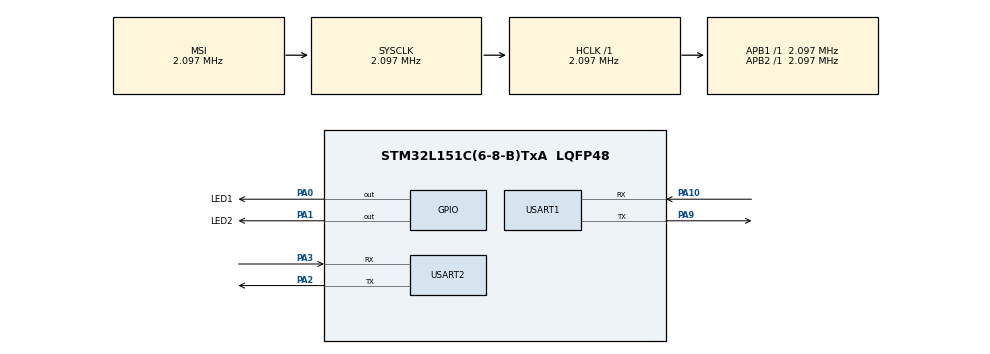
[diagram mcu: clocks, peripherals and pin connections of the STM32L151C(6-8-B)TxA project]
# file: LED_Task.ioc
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FREERTOS.Tasks01=defaultTask,24,128,StartDefaultTask,Default,NULL,Dynamic,NULL,NULL
FREERTOS.configUSE_NEWLIB_REENTRANT=1
Mcu.Family=STM32L1
Mcu.Name=STM32L151C(6-8-B)TxA
Mcu.Package=LQFP48
NVIC.PriorityGroup=NVIC_PRIORITYGROUP_4
NVIC.TIM4_IRQn=true\:15\:0\:false\:false\:true\:false\:false\:true\:true
NVIC.TimeBase=TIM4_IRQn
NVIC.TimeBaseIP=TIM4
PA0-WKUP1.GPIO_Label=LED1
PA0-WKUP1.Signal=GPIO_Output
PA1.GPIO_Label=LED2
PA1.Signal=GPIO_Output
PA10.Mode=Asynchronous
PA10.Signal=USART1_RX
PA2.Mode=Asynchronous
PA2.Signal=USART2_TX
PA3.Mode=Asynchronous
PA3.Signal=USART2_RX
PA9.Mode=Asynchronous
PA9.Signal=USART1_TX
PH0-OSC_IN.Mode=HSE-External-Oscillator
PH0-OSC_IN.Signal=RCC_OSC_IN
PH1-OSC_OUT.Mode=HSE-External-Oscillator
PH1-OSC_OUT.Signal=RCC_OSC_OUT
ProjectManager.HeapSize=0x200
ProjectManager.StackSize=0x400
ProjectManager.TargetToolchain=STM32CubeIDE
RCC.AHBFreq_Value=2097000
RCC.APB1Freq_Value=2097000
RCC.APB2Freq_Value=2097000
RCC.HSE_VALUE=24000000
RCC.HSI_VALUE=16000000
RCC.LSE_VALUE=32768
RCC.MSI_VALUE=2097000
RCC.SYSCLKFreq_VALUE=2097000
RCC.VCOOutputFreq_Value=48000000
USART1.VirtualMode=VM_ASYNC
USART2.VirtualMode=VM_ASYNC
VP_FREERTOS_VS_CMSIS_V2.Mode=CMSIS_V2
VP_SYS_VS_tim4.Mode=TIM4
board=custom

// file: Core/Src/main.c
/* USER CODE BEGIN Header */
/**
  ******************************************************************************
  * @file           : main.c
  * @brief          : Main program body
  ******************************************************************************
  * @attention
  *
  * Copyright (c) 2024 STMicroelectronics.
  * All rights reserved.
  *
  * This software is licensed under terms that can be found in the LICENSE file
  * in the root directory of this software component.
  * If no LICENSE file comes with this software, it is provided AS-IS.
  *
  ******************************************************************************
  */
/* USER CODE END Header */
#include "main.h"
#include "cmsis_os.h"

/* USER CODE BEGIN Includes */
#include "FreeRTOS.h"
#include "task.h"
/* USER CODE END Includes */

UART_HandleTypeDef huart1;
UART_HandleTypeDef huart2;

/* Definitions for defaultTask */
osThreadId_t defaultTaskHandle;
const osThreadAttr_t defaultTask_attributes = {
  .name = "defaultTask",
  .stack_size = 128 * 4,
  .priority = (osPriority_t) osPriorityNormal,
};

void SystemClock_Config(void);
static void MX_GPIO_Init(void);
static void MX_USART1_UART_Init(void);
static void MX_USART2_UART_Init(void);
void StartDefaultTask(void *argument);

/* USER CODE BEGIN PFP */
static void green_handler (void* parameters);
static void red_handler (void* parameters);
/* USER CODE END PFP */

/* USER CODE BEGIN 0 */
#ifdef __GNUC__
/* With GCC/RAISONANCE, small printf (option LD Linker->Libraries->Small printf
   set to 'Yes') calls __io_putchar() */
#define PUTCHAR_PROTOTYPE int __io_putchar(int ch)
#else
#define PUTCHAR_PROTOTYPE int fputc(int ch, FILE *f)
#endif /* __GNUC__ */

UART_HandleTypeDef UartHandle_1 = {0};
PUTCHAR_PROTOTYPE
{
	HAL_UART_Transmit(&huart1, (uint8_t *)&ch, 1, 0xFFFF);
}
/* USER CODE END 0 */

int main(void)
{
  /* USER CODE BEGIN 1 */
	TaskHandle_t task1_handle;
	TaskHandle_t task2_handle;
	BaseType_t status;
  /* USER CODE END 1 */

  /* MCU Configuration--------------------------------------------------------*/

  /* Reset of all peripherals, Initializes the Flash interface and the Systick. */
  HAL_Init();

  /* Configure the system clock */
  SystemClock_Config();

  /* Initialize all configured peripherals */
  MX_GPIO_Init();
  MX_USART1_UART_Init();
  MX_USART2_UART_Init();

  /* Init scheduler */
  osKernelInitialize();

  /* Create the thread(s) */
  /* creation of defaultTask */
  defaultTaskHandle = osThreadNew(StartDefaultTask, NULL, &defaultTask_attributes);

  /* USER CODE BEGIN RTOS_THREADS */
  /* add threads, ... */

	status = xTaskCreate(green_handler, "Green", 200, NULL, 3	, &task1_handle);
	configASSERT(status == pdPASS);

	status = xTaskCreate(red_handler, "Red", 200, NULL, 2	, &task2_handle);
	configASSERT(status == pdPASS);

  /* USER CODE END RTOS_THREADS */

  /* Start scheduler */
  vTaskStartScheduler();
  /* We should never get here as control is now taken by the scheduler */
  /* Infinite loop */
  while (1)
  {

  }
}

void SystemClock_Config(void)
{
  RCC_OscInitTypeDef RCC_OscInitStruct = {0};
  RCC_ClkInitTypeDef RCC_ClkInitStruct = {0};

  /** Configure the main internal regulator output voltage
  */
  __HAL_PWR_VOLTAGESCALING_CONFIG(PWR_REGULATOR_VOLTAGE_SCALE1);

  /** Initializes the RCC Oscillators according to the specified parameters
  * in the RCC_OscInitTypeDef structure.
  */
  RCC_OscInitStruct.OscillatorType = RCC_OSCILLATORTYPE_MSI;
  RCC_OscInitStruct.MSIState = RCC_MSI_ON;
  RCC_OscInitStruct.MSICalibrationValue = 0;
  RCC_OscInitStruct.MSIClockRange = RCC_MSIRANGE_5;
  RCC_OscInitStruct.PLL.PLLState = RCC_PLL_NONE;
  if (HAL_RCC_OscConfig(&RCC_OscInitStruct) != HAL_OK)
  {
    Error_Handler();
  }

  /** Initializes the CPU, AHB and APB buses clocks
  */
  RCC_ClkInitStruct.ClockType = RCC_CLOCKTYPE_HCLK|RCC_CLOCKTYPE_SYSCLK
                              |RCC_CLOCKTYPE_PCLK1|RCC_CLOCKTYPE_PCLK2;
  RCC_ClkInitStruct.SYSCLKSource = RCC_SYSCLKSOURCE_MSI;
  RCC_ClkInitStruct.AHBCLKDivider = RCC_SYSCLK_DIV1;
  RCC_ClkInitStruct.APB1CLKDivider = RCC_HCLK_DIV1;
  RCC_ClkInitStruct.APB2CLKDivider = RCC_HCLK_DIV1;

  if (HAL_RCC_ClockConfig(&RCC_ClkInitStruct, FLASH_LATENCY_0) != HAL_OK)
  {
    Error_Handler();
  }
}

static void MX_USART1_UART_Init(void)
{

  huart1.Instance = USART1;
  huart1.Init.BaudRate = 115200;
  huart1.Init.WordLength = UART_WORDLENGTH_8B;
  huart1.Init.StopBits = UART_STOPBITS_1;
  huart1.Init.Parity = UART_PARITY_NONE;
  huart1.Init.Mode = UART_MODE_TX_RX;
  huart1.Init.HwFlowCtl = UART_HWCONTROL_NONE;
  huart1.Init.OverSampling = UART_OVERSAMPLING_16;
  if (HAL_UART_Init(&huart1) != HAL_OK)
  {
    Error_Handler();
  }

}

static void MX_USART2_UART_Init(void)
{

  huart2.Instance = USART2;
  huart2.Init.BaudRate = 115200;
  huart2.Init.WordLength = UART_WORDLENGTH_8B;
  huart2.Init.StopBits = UART_STOPBITS_1;
  huart2.Init.Parity = UART_PARITY_NONE;
  huart2.Init.Mode = UART_MODE_TX_RX;
  huart2.Init.HwFlowCtl = UART_HWCONTROL_NONE;
  huart2.Init.OverSampling = UART_OVERSAMPLING_16;
  if (HAL_UART_Init(&huart2) != HAL_OK)
  {
    Error_Handler();
  }

}

static void MX_GPIO_Init(void)
{
  GPIO_InitTypeDef GPIO_InitStruct = {0};

  /* GPIO Ports Clock Enable */
  __HAL_RCC_GPIOH_CLK_ENABLE();
  __HAL_RCC_GPIOA_CLK_ENABLE();

  /*Configure GPIO pin Output Level */
  HAL_GPIO_WritePin(GPIOA, LED1_Pin|LED2_Pin, GPIO_PIN_RESET);

  /*Configure GPIO pins : LED1_Pin LED2_Pin */
  GPIO_InitStruct.Pin = LED1_Pin|LED2_Pin;
  GPIO_InitStruct.Mode = GPIO_MODE_OUTPUT_PP;
  GPIO_InitStruct.Pull = GPIO_NOPULL;
  GPIO_InitStruct.Speed = GPIO_SPEED_FREQ_LOW;
  HAL_GPIO_Init(GPIOA, &GPIO_InitStruct);

}

/* USER CODE BEGIN 4 */

static void red_handler (void* parameters)
{
	TickType_t last_wakeup_time = xTaskGetTickCount();
	while(1)
	{
		printf("R\r\n");

		HAL_GPIO_TogglePin(GPIOA, LED1_Pin);
		vTaskDelayUntil(&last_wakeup_time, 	pdMS_TO_TICKS(1000));
	}
}

static void green_handler (void* parameters)
{
	TickType_t last_wakeup_time = xTaskGetTickCount();

	while(1)
	{
		printf("G\r\n");

		HAL_GPIO_TogglePin(GPIOA, LED2_Pin);
		vTaskDelayUntil(&last_wakeup_time,pdMS_TO_TICKS(800));
	}
}

/* USER CODE END 4 */

void StartDefaultTask(void *argument)
{
  for(;;)
  {
    osDelay(1);
  }
}

void HAL_TIM_PeriodElapsedCallback(TIM_HandleTypeDef *htim)
{
  if (htim->Instance == TIM4) {
    HAL_IncTick();
  }
}

void Error_Handler(void)
{
  __disable_irq();
  while (1)
  {
  }
}
